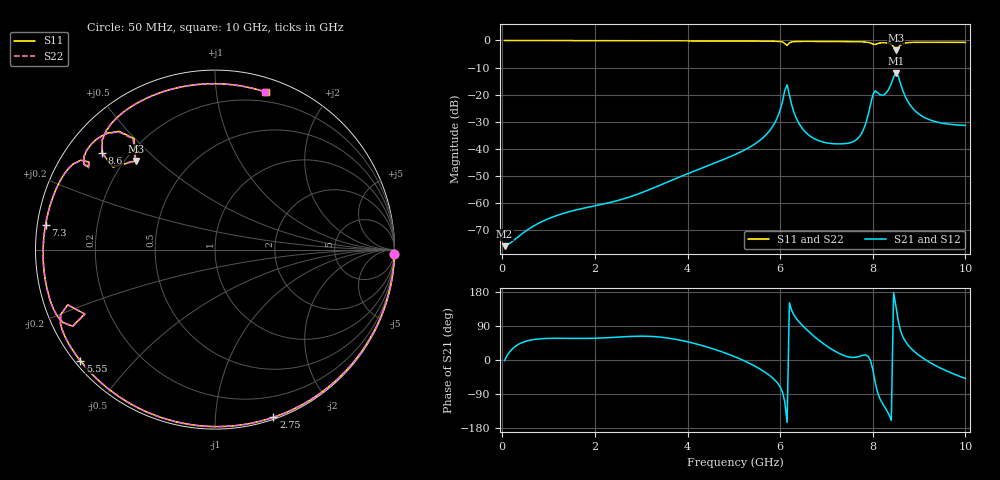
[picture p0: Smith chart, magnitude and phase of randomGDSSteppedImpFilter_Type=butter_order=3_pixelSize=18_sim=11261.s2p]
! freq	dB(S11)	phase(S11)	dB(S12)	phase(S12)
!  dB(S21)	phase(S21)	dB(S22)	phase(S22)
!S-par simulation data
#  GHz  S  DB  R 50
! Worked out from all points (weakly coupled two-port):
!   200 points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, 50 MHz to 10 GHz, reference 50 ohm
!   highest |S21| = -11.95 dB at 8.5 GHz (marker M1); lowest = -75.8 dB at 50 MHz (marker M2)
!   lowest |S11| = -3.6 dB at 8.5 GHz (marker M3), VSWR 4.93, Z = 12.1 + j21.3 ohm
!   |S11| at or under -10 dB: nowhere
!   |S22| runs from -3.5 to 0.0 dB; largest |S21 - S12| = 0
!   S11 on the Smith chart (normalised r, x): 50 MHz: 0, -86; 2.75 GHz: 0.02, -1.41; 5.55 GHz: 0.02, -0.36; 7.3 GHz: 0.02, +0.07; 8.6 GHz: 0.11, +0.37; 10 GHz: 0.12, +1.36
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0.05  -0.00 -1.3  -75.85 -1.8  -75.85 -1.8  -0.00 -1.3
0.85  -0.03 -22.4  -66.83 56.3  -66.83 56.3  -0.03 -22.4
1.75  -0.06 -45.6  -61.87 57.0  -61.87 57.0  -0.06 -45.6
2.75  -0.09 -70.8  -57.70 62.1  -57.70 62.1  -0.09 -70.8
3.4  -0.11 -86.8  -53.41 60.5  -53.41 60.5  -0.11 -86.8
5.05  -0.20 -127.6  -41.89 7.2  -41.89 7.2  -0.20 -127.5
5.55  -0.24 -140.6  -36.99 -22.7  -36.99 -22.7  -0.24 -140.5
5.9  -0.31 -150.7  -29.85 -54.8  -29.85 -54.8  -0.31 -150.7
6.15  -1.84 -153.7  -16.37 -164.8  -16.37 -164.8  -1.84 -153.6
6.35  -0.38 -158.7  -28.73 109.3  -28.73 109.3  -0.38 -158.6
6.7  -0.35 -169.8  -35.83 66.0  -35.83 66.0  -0.35 -169.8
7.3  -0.41 171.6  -38.13 15.9  -38.13 15.9  -0.41 171.6
7.7  -0.48 157.6  -35.73 9.2  -35.73 9.2  -0.48 157.6
7.85  -0.59 151.3  -30.49 13.1  -30.49 13.1  -0.60 151.3
8.05  -1.49 147.0  -18.59 -57.8  -18.59 -57.8  -1.52 147.1
8.2  -0.87 141.9  -20.22 -112.7  -20.22 -112.7  -0.88 142.1
8.35  -1.07 132.8  -17.80 -144.3  -17.80 -144.3  -1.07 133.0
8.5  -3.57 131.8  -11.95 141.8  -11.95 141.8  -3.52 132.0
8.6  -1.62 139.4  -15.95 77.3  -15.95 77.3  -1.61 139.4
8.8  -0.76 126.5  -23.64 34.0  -23.64 34.0  -0.76 126.6
9.05  -0.67 114.6  -27.77 7.8  -27.77 7.8  -0.67 114.7
10  -0.71 72.2  -31.31 -48.8  -31.31 -48.8  -0.70 72.3
